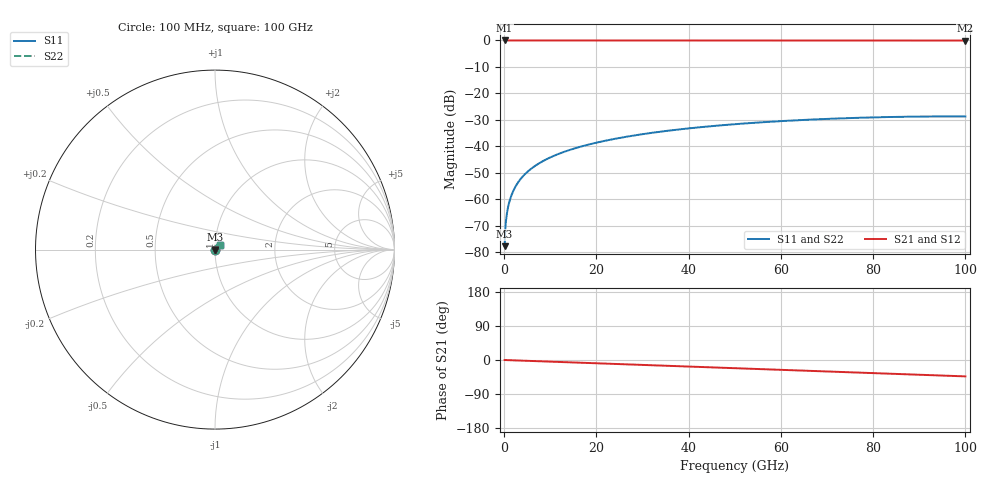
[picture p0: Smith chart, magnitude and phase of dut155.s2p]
! Touchstone file exported from HFSS 2026.1.0
!  File:  C:/ffzhzh/LocalFiles/Ansys_Project_Files/temp_train_TSV_155_1783506685_31944.aedt
!  Generated:  06:32:39 PM Jul  8, 2026
!  Design:  TSV
!  Project:  temp_train_TSV_155_1783506685_31944
! Variables:
!  h_bsmrdl = 2um
!  h_ox = 20um
!  h_rdl = 5um
!  h_sub = 83.31um
!  h_tmrdl = 5um
!  h_tsv = 83.31um
!  h_via = 3um
!  l_bsmrdl = 300um
!  l_sub = 427.24um
!  l_tmrdl = 200um
!  m_sub = 200um
!  pitch = 58.99um
!  r_tsv = 13.62um
!  s_tmrdl = 10um
!  w_bsmrdl = 18um
!  w_sub = 500um
!  w_tmrdl = 12um
!  x_tsv_center1 = 206um
!  x_tsv_center2 = 524um
!  x_tsv_center3 = 736um
!  x_tsv_center4 = 1054um
!  x_tsv_center5 = 1266um
!  x_tsv_center6 = 1584um
# GHz S MA R 50.000000
! Terminal data exported
! Port[1] = TSV1_1_T1
! Port[2] = TSV1_1_T2
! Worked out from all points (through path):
!   1000 points, 100 MHz to 100 GHz, reference 50 ohm
!   highest |S21| = 0.00 dB at 100 MHz (marker M1); lowest = 0.0 dB at 100 GHz (marker M2)
!   group delay of S21, straight-line fit = 1.2 ps
!   lowest |S11| = -77.8 dB at 100 MHz (marker M3), VSWR 1.00, Z = 50 + j0.00997 ohm
!   |S11| at or under -10 dB: start of sweep to end of sweep
!   |S22| runs from -77.8 to -28.7 dB; largest |S21 - S12| = 4.3e-15
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0.1  0.000129 50.6  0.9999 -0.0  0.9999 -0.0  0.000129 50.6
! Gamma 0 0 0 0
! Port Impedance 50 0 50 0
0.3  0.0003054 67.5  0.9999 -0.1  0.9999 -0.1  0.0003054 67.5
0.7  0.0006073 71.0  0.9998 -0.3  0.9998 -0.3  0.0006073 71.0
0.8  0.0006746 71.6  0.9998 -0.4  0.9998 -0.4  0.0006746 71.6
1  0.0008058 72.6  0.9998 -0.4  0.9998 -0.4  0.0008058 72.6
1.3  0.0009986 74.0  0.9997 -0.6  0.9997 -0.6  0.0009986 74.0
1.8  0.001316 75.6  0.9997 -0.8  0.9997 -0.8  0.001316 75.7
2.4  0.001691 76.8  0.9996 -1.0  0.9996 -1.0  0.001691 76.8
3.1  0.002121 77.6  0.9996 -1.4  0.9996 -1.4  0.002121 77.6
3.9  0.002602 78.2  0.9995 -1.7  0.9995 -1.7  0.002602 78.2
4.9  0.003194 78.6  0.9995 -2.1  0.9995 -2.1  0.003194 78.6
6.1  0.003896 78.9  0.9994 -2.6  0.9994 -2.6  0.003896 78.9
8.9  0.005513 78.9  0.9993 -3.9  0.9993 -3.9  0.005513 79.0
12.4  0.007499 78.3  0.9991 -5.4  0.9991 -5.4  0.007499 78.3
16.8  0.009937 77.1  0.999 -7.3  0.999 -7.3  0.009937 77.2
24.2  0.01391 74.8  0.9987 -10.4  0.9987 -10.4  0.01391 74.8
33.4  0.0186 71.5  0.9985 -14.4  0.9985 -14.4  0.0186 71.5
41.3  0.02235 68.4  0.9982 -17.8  0.9982 -17.8  0.02235 68.5
50.1  0.02614 64.9  0.998 -21.6  0.998 -21.6  0.02614 64.9
66.7  0.03196 58.1  0.9975 -28.7  0.9975 -28.7  0.03196 58.1
83.4  0.03567 51.0  0.997 -36.0  0.997 -36.0  0.03566 51.1
100  0.03651 44.1  0.9965 -43.2  0.9965 -43.2  0.0365 44.2
